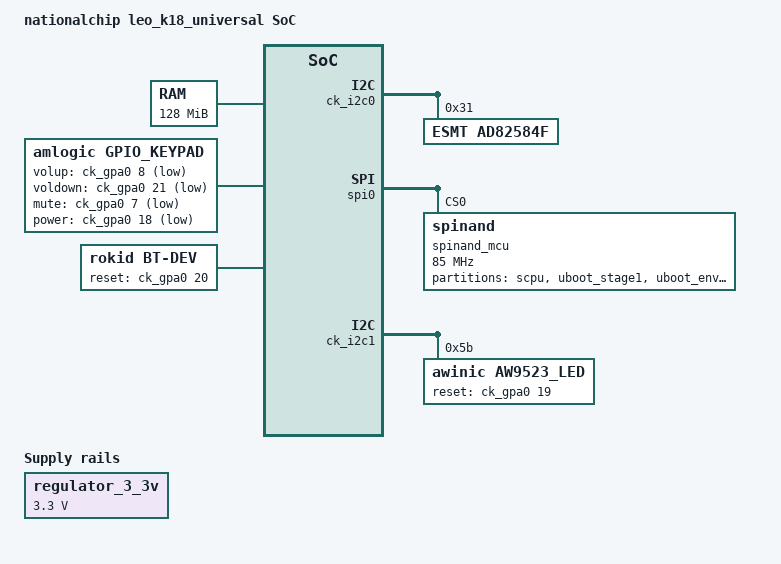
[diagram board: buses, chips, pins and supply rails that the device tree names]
/*
 *  Copyright (C) 2013 Steffen Trumtrar <s.trumtrar@pengutronix.de>
 *
 * This program is free software; you can redistribute it and/or modify
 * it under the terms of the GNU General Public License as published by
 * the Free Software Foundation; either version 2 of the License, or
 * (at your option) any later version.
 *
 * This program is distributed in the hope that it will be useful,
 * but WITHOUT ANY WARRANTY; without even the implied warranty of
 * MERCHANTABILITY or FITNESS FOR A PARTICULAR PURPOSE.  See the
 * GNU General Public License for more details.
 *
 * You should have received a copy of the GNU General Public License
 * along with this program.  If not, see <http://www.gnu.org/licenses/>.
 */

/dts-v1/;
/* First 4KB has trampoline code for secondary cores. */
/* /memreserve/ 0x00000000 0x0001000; */

#include "leo.dtsi"

/ {
	model = "nationalchip leo_k18_universal SoC";
	compatible = "nationalchip,leo_k18_universal_1v", "nationalchip,leo";

	chosen {
		bootargs = "earlyprintk";
		stdout-path = "serial0:115200n8";
	};

	memory {
		name = "memory";
		device_type = "memory";
		reg = <0x10000000 0x8000000>;
	};

	aliases {
		/* this allow the ethaddr uboot environmnet variable contents
		 * to be added to the gmac1 device tree blob.
		 */
	};

	regulator_3_3v: vcc3p3-regulator {
		compatible = "regulator-fixed";
		regulator-name = "VCC3P3";
		regulator-min-microvolt = <3300000>;
		regulator-max-microvolt = <3300000>;
	};

	gpio_keypad{
		compatible = "amlogic, gpio_keypad";
		status = "okay";
		scan_period = <20>;

		key_num = <4>;
		key_name = "volup", "voldown" , "mute", "power";
		key_code = <115 114 113 116>;

		volup-gpio =   <&ck_gpa0 8 GPIO_ACTIVE_LOW>;
		voldown-gpio = <&ck_gpa0 21 GPIO_ACTIVE_LOW>;
		mute-gpio = <&ck_gpa0 7 GPIO_ACTIVE_LOW>;
		power-gpio =<&ck_gpa0 18 GPIO_ACTIVE_LOW>;

		//gpio_high_z = <1>;
		//irq_keyup = <6>;
		//irq_keydown = <7>;
	};

	urat1_control{
		compatible = "nationalchip,LEO_uart_control";
		reg = <0x02308000 0x1000>;
		val = <0x01>;
		cts-gpio = <&gpa0 27 GPIO_ACTIVE_HIGH>;
		rts-gpio = <&gpa0 26 GPIO_ACTIVE_HIGH>;
	};

	gxasoc-machine {
		name = "gxasoc-machine";
		compatible = "NationalChip,ASoc-Machine";
		num_codecs = <1>;
		codec-name     = "ad82584f";
		codec-dai-name = "ad82584f-dai";
		platform-name  = "gxasoc-platform";
		cup-dai-name   = "gxasoc-platform-dai";
		status = "okay";
	};

	gxasoc-platform_dai {
		dev-name   = "gxasoc-platform-dai";
		compatible = "NationalChip,ASoc-Platform_Dai";
		status = "okay";
	};

    bt-dev{
		compatible = "rokid, bt-dev";
		dev_name = "bt-dev";
		status = "okay";
		reset-gpio = <&ck_gpa0 20 GPIO_ACTIVE_HIGH>;
	};

};

&gxasoc_codec{
	status = "disabled";
};

&ck_i2c0{
	status = "okay";
};

&spi0{
	status = "okay";

	/* spi nor flash */
	/*M25P@0 {
		compatible = "jedec,spi-nor";
		spi-max-frequency = <85000000>;
		reg = <1>;
		status = "okay";

		partitions {
			#address-cells = <1>;
			#size-cells = <1>;
			compatible = "fixed-partitions";
			scpu {		reg = <0x000000 0x100000>; };
			uboot_stage1 {	reg = <0x100000 0x40000>;  };
			uboot_env {	reg = <0x140000 0x40000>;  };
			uboot_stage2 {	reg = <0x180000 0x80000>;  };
			boot_music {	reg = <0x200000 0x80000>;  };
			kernel_dtb {	reg = <0x280000 0x80000>;  };
			kernel {	reg = <0x300000 0x500000>; };
		};
	};*/

	/* spi nand flash */
	spinand_mcu@0 {
		compatible = "spinand";
		spi-max-frequency = <85000000>;
		reg = <0>;
		status = "okay";

		partitions {
			#address-cells = <1>;
			#size-cells = <1>;
			compatible = "fixed-partitions";
			scpu {		reg = <0x000000 0x100000>; };
			uboot_stage1 {	reg = <0x100000 0x40000>;  };
			uboot_env {	reg = <0x140000 0x40000>;  };
			uboot_stage2 {	reg = <0x180000 0x80000>;  };
			boot_music {	reg = <0x200000 0x80000>;  };
			kernel_dtb {	reg = <0x280000 0x80000>;  };
			kernel {	reg = <0x300000 0x700000>; };
			rootfs {	reg = <0xa00000 0x7600000>;};
		};
	};

};

&mmc0{
	status = "disabled";
};

&mmc1 {
	wlan_on-gpio = <&ck_gpa0 30 GPIO_ACTIVE_HIGH>;
};

&ck_i2c0{
	ad82584f@31 {
		compatible = "ESMT, ad82584f";
		dev-name = "ad82584f";
		reg = <0x31>;
		//init-vol = <0x3e>;
		dsp_reset_pin = <&ck_gpa0 6 GPIO_ACTIVE_HIGH>;
	};

};

&ck_i2c1{
	status = "okay";
    aw9523_led@5b {
        compatible = "awinic,aw9523_led";
        reg = <0x5b>;
        reset-gpio = <&ck_gpa0 19 GPIO_ACTIVE_HIGH>;
        status = "okay";
        aw9523,led {
            aw9523,name = "aw9523_led";
            aw9523,imax = <3>;
            aw9523,brightness = <32>;
            aw9523,max_brightness = <255>;
        };
    };
};


